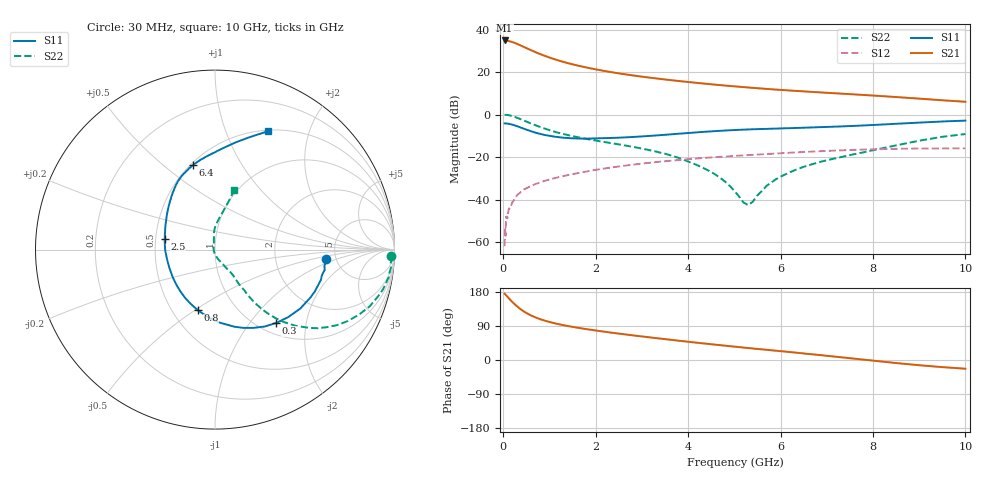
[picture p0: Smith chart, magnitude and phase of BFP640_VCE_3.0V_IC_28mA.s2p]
! Infineon Technologies  Discrete & RF Semiconductors
! BFP640
! VCE =  3.0 V,  IC =  28 mA
! Common Emitter S-Parameters:  Apr 2013
# GHz  S  MA  R  50
!  f  S11  S21  S12  S22
! GHz  MAG  ANG  MAG  ANG  MAG  ANG  MAG  ANG
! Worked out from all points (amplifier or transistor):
!   99 points, 30 MHz to 10 GHz, reference 50 ohm
!   highest |S21| = 34.9 dB at 30 MHz (marker M1)
!   |S21| within 3 dB of that: start of sweep to 443.2 MHz
!   unconditionally stable (mu >= 1): 2.339 GHz to end of sweep
!   at 350 MHz: K = 0.35, MSG = 34.9 dB, |S12| = -37.0 dB
!   at 3.5 GHz: K = 1.05, MAG = 17.9 dB, |S12| = -22.0 dB
!   at 10 GHz: K = 1.06, MAG = 9.4 dB, |S12| = -15.9 dB
!   S11 on the Smith chart (normalised r, x): 30 MHz: 4.13, -0.74; 300 MHz: 1.19, -1.36; 800 MHz: 0.67, -0.51; 2.5 GHz: 0.56, +0.07; 6.4 GHz: 0.52, +0.63; 10 GHz: 0.51, +1.41
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0.03  0.6204 -5.1  55.48 175.0  0.0008 77.3  0.9823 -2.2
0.08  0.6124 -14.1  54.7 168.3  0.004 69.1  0.979 -7.9
0.15  0.5957 -26.4  52.7 159.1  0.0064 77.5  0.9501 -15.3
0.2  0.5776 -34.7  50.71 152.8  0.0087 76.0  0.9185 -20.1
0.25  0.5548 -42.7  48.55 146.9  0.0103 75.2  0.8804 -24.3
0.3  0.5325 -50.1  46.04 141.6  0.0128 71.4  0.841 -28.2
0.4  0.4854 -64.0  41.28 132.0  0.0157 68.1  0.7589 -34.7
0.5  0.4422 -76.1  36.77 124.2  0.0184 66.1  0.6843 -39.6
0.6  0.4058 -87.1  32.79 117.7  0.0209 63.5  0.618 -43.4
0.7  0.3751 -96.8  29.39 112.4  0.0233 62.6  0.5599 -46.3
0.8  0.3506 -106.0  26.51 107.7  0.0253 61.6  0.5101 -48.5
1  0.3163 -121.8  21.99 100.4  0.0296 60.5  0.4306 -51.5
1.2  0.2935 -135.6  18.7 94.5  0.0336 59.6  0.3716 -53.2
1.4  0.2806 -147.5  16.23 89.6  0.0377 58.6  0.3291 -53.9
1.7  0.2724 -162.6  13.54 83.4  0.0437 57.2  0.2806 -54.2
2.5  0.2861 168.1  9.341 69.7  0.0601 52.3  0.199 -55.0
3.4  0.3285 144.9  6.898 56.5  0.078 45.3  0.127 -57.9
5.1  0.4372 117.4  4.521 34.1  0.1079 30.8  0.0119 -118.4
6.4  0.4859 104.6  3.572 18.6  0.13 19.7  0.0537 96.9
6.7  0.4991 101.2  3.41 14.9  0.1347 16.9  0.0686 95.0
8.5  0.6069 79.3  2.586 -8.0  0.1565 -1.1  0.1885 80.8
10  0.7216 65.9  2.003 -23.0  0.1608 -13.0  0.3483 72.3
